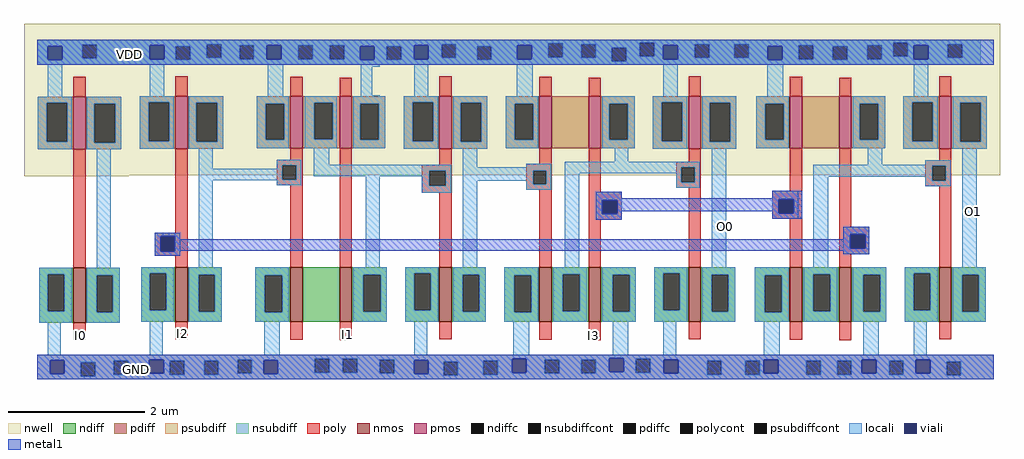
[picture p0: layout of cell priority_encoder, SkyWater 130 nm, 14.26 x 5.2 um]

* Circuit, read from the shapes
.subckt priority_encoder VDD GND I0 I1 I2 I3 O0 O1
XM1 n1 I0 GND GND sky130_fd_pr__nfet_01v8 w=0.8 l=0.18
XM2 n2 I2 GND GND sky130_fd_pr__nfet_01v8 w=0.8 l=0.18
XM3 n3 n2 GND GND sky130_fd_pr__nfet_01v8 w=0.8 l=0.18
XM4 n4 I1 n3 GND sky130_fd_pr__nfet_01v8 w=0.8 l=0.18
XM5 n5 n4 GND GND sky130_fd_pr__nfet_01v8 w=0.8 l=0.18
XM6 n6 n5 GND GND sky130_fd_pr__nfet_01v8 w=0.8 l=0.18
XM7 GND I3 n6 GND sky130_fd_pr__nfet_01v8 w=0.8 l=0.18
XM8 O0 n6 GND GND sky130_fd_pr__nfet_01v8 w=0.8 l=0.18
XM9 n7 I3 GND GND sky130_fd_pr__nfet_01v8 w=0.8 l=0.18
XM10 GND I2 n7 GND sky130_fd_pr__nfet_01v8 w=0.8 l=0.18
XM11 O1 n7 GND GND sky130_fd_pr__nfet_01v8 w=0.8 l=0.18
XM12 n1 I0 VDD VDD sky130_fd_pr__pfet_01v8 w=0.77 l=0.18
XM13 n2 I2 VDD VDD sky130_fd_pr__pfet_01v8 w=0.77 l=0.18
XM14 n4 n2 VDD VDD sky130_fd_pr__pfet_01v8 w=0.76 l=0.18
XM15 VDD I1 n4 VDD sky130_fd_pr__pfet_01v8 w=0.76 l=0.18
XM16 n5 n4 VDD VDD sky130_fd_pr__pfet_01v8 w=0.77 l=0.18
XM17 n8 n5 VDD VDD sky130_fd_pr__pfet_01v8 w=0.76 l=0.18
XM18 n6 I3 n8 VDD sky130_fd_pr__pfet_01v8 w=0.76 l=0.18
XM19 O0 n6 VDD VDD sky130_fd_pr__pfet_01v8 w=0.77 l=0.18
XM20 n9 I3 VDD VDD sky130_fd_pr__pfet_01v8 w=0.76 l=0.18
XM21 n7 I2 n9 VDD sky130_fd_pr__pfet_01v8 w=0.76 l=0.18
XM22 O1 n7 VDD VDD sky130_fd_pr__pfet_01v8 w=0.77 l=0.18
.ends

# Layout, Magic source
magic

tech sky130A


<< nwell >>

rect -161 87 1265 309

rect -161 86 -8 87

<< nmos >>

rect -89 -128 -71 -48

rect 60 -127 78 -47

rect 228 -127 246 -47

rect 300 -127 318 -47

rect 446 -127 464 -47

rect 592 -127 610 -47

rect 664 -127 682 -47

rect 810 -127 828 -47

rect 958 -127 976 -47

rect 1030 -127 1048 -47

rect 1176 -127 1194 -47

<< pmos >>

rect -89 125 -71 202

rect 60 126 78 203

rect 228 127 246 203

rect 300 127 318 203

rect 446 126 464 203

rect 592 127 610 203

rect 664 127 682 203

rect 810 126 828 203

rect 958 127 976 203

rect 1030 127 1048 203

rect 1176 126 1194 203

<< ndiff >>

rect -139 -57 -89 -48

rect -139 -111 -126 -57

rect -102 -111 -89 -57

rect -139 -128 -89 -111

rect -71 -59 -21 -48

rect -71 -113 -55 -59

rect -31 -113 -21 -59

rect -71 -128 -21 -113

rect 10 -56 60 -47

rect 10 -110 23 -56

rect 47 -110 60 -56

rect 10 -127 60 -110

rect 78 -58 128 -47

rect 78 -112 94 -58

rect 118 -112 128 -58

rect 78 -127 128 -112

rect 177 -59 228 -47

rect 177 -113 191 -59

rect 216 -113 228 -59

rect 177 -127 228 -113

rect 246 -127 300 -47

rect 318 -58 369 -47

rect 318 -112 335 -58

rect 360 -112 369 -58

rect 318 -127 369 -112

rect 396 -56 446 -47

rect 396 -110 409 -56

rect 433 -110 446 -56

rect 396 -127 446 -110

rect 464 -58 514 -47

rect 464 -112 480 -58

rect 504 -112 514 -58

rect 464 -127 514 -112

rect 541 -59 592 -47

rect 541 -113 555 -59

rect 580 -113 592 -59

rect 541 -127 592 -113

rect 610 -57 664 -47

rect 610 -111 626 -57

rect 651 -111 664 -57

rect 610 -127 664 -111

rect 682 -58 733 -47

rect 682 -112 699 -58

rect 724 -112 733 -58

rect 682 -127 733 -112

rect 760 -56 810 -47

rect 760 -110 773 -56

rect 797 -110 810 -56

rect 760 -127 810 -110

rect 828 -58 878 -47

rect 828 -112 844 -58

rect 868 -112 878 -58

rect 828 -127 878 -112

rect 907 -59 958 -47

rect 907 -113 921 -59

rect 946 -113 958 -59

rect 907 -127 958 -113

rect 976 -57 1030 -47

rect 976 -111 992 -57

rect 1017 -111 1030 -57

rect 976 -127 1030 -111

rect 1048 -58 1099 -47

rect 1048 -112 1065 -58

rect 1090 -112 1099 -58

rect 1048 -127 1099 -112

rect 1126 -56 1176 -47

rect 1126 -110 1139 -56

rect 1163 -110 1176 -56

rect 1126 -127 1176 -110

rect 1194 -58 1244 -47

rect 1194 -112 1210 -58

rect 1234 -112 1244 -58

rect 1194 -127 1244 -112

<< pdiff >>

rect -141 193 -89 202

rect -141 136 -128 193

rect -98 136 -89 193

rect -141 125 -89 136

rect -71 192 -19 202

rect -71 135 -58 192

rect -28 135 -19 192

rect -71 125 -19 135

rect 8 194 60 203

rect 8 137 21 194

rect 51 137 60 194

rect 8 126 60 137

rect 78 193 130 203

rect 78 136 91 193

rect 121 136 130 193

rect 78 126 130 136

rect 179 192 228 203

rect 179 139 192 192

rect 219 139 228 192

rect 179 127 228 139

rect 246 193 300 203

rect 246 140 263 193

rect 290 140 300 193

rect 246 127 300 140

rect 318 192 367 203

rect 318 139 330 192

rect 357 139 367 192

rect 318 127 367 139

rect 394 194 446 203

rect 394 137 407 194

rect 437 137 446 194

rect 394 126 446 137

rect 464 193 516 203

rect 464 136 477 193

rect 507 136 516 193

rect 464 126 516 136

rect 543 192 592 203

rect 543 139 556 192

rect 583 139 592 192

rect 543 127 592 139

rect 610 127 664 203

rect 682 192 731 203

rect 682 139 694 192

rect 721 139 731 192

rect 682 127 731 139

rect 758 194 810 203

rect 758 137 771 194

rect 801 137 810 194

rect 758 126 810 137

rect 828 193 880 203

rect 828 136 841 193

rect 871 136 880 193

rect 828 126 880 136

rect 909 192 958 203

rect 909 139 922 192

rect 949 139 958 192

rect 909 127 958 139

rect 976 127 1030 203

rect 1048 192 1097 203

rect 1048 139 1060 192

rect 1087 139 1097 192

rect 1048 127 1097 139

rect 1124 194 1176 203

rect 1124 137 1137 194

rect 1167 137 1176 194

rect 1124 126 1176 137

rect 1194 193 1246 203

rect 1194 136 1207 193

rect 1237 136 1246 193

rect 1194 126 1246 136

<< ndiffc >>

rect -126 -111 -102 -57

rect -55 -113 -31 -59

rect 23 -110 47 -56

rect 94 -112 118 -58

rect 191 -113 216 -59

rect 335 -112 360 -58

rect 409 -110 433 -56

rect 480 -112 504 -58

rect 555 -113 580 -59

rect 626 -111 651 -57

rect 699 -112 724 -58

rect 773 -110 797 -56

rect 844 -112 868 -58

rect 921 -113 946 -59

rect 992 -111 1017 -57

rect 1065 -112 1090 -58

rect 1139 -110 1163 -56

rect 1210 -112 1234 -58

<< pdiffc >>

rect -128 136 -98 193

rect -58 135 -28 192

rect 21 137 51 194

rect 91 136 121 193

rect 192 139 219 192

rect 263 140 290 193

rect 330 139 357 192

rect 407 137 437 194

rect 477 136 507 193

rect 556 139 583 192

rect 694 139 721 192

rect 771 137 801 194

rect 841 136 871 193

rect 922 139 949 192

rect 1060 139 1087 192

rect 1137 137 1167 194

rect 1207 136 1237 193

<< psubdiff >>

rect -142 -181 1256 -175

rect -142 -182 264 -181

rect -142 -184 151 -182

rect -142 -186 -30 -184

rect -142 -206 -78 -186

rect -57 -204 -30 -186

rect -9 -204 52 -184

rect 73 -204 102 -184

rect 123 -202 151 -184

rect 172 -201 264 -182

rect 285 -201 305 -181

rect 326 -182 733 -181

rect 326 -201 359 -182

rect 172 -202 359 -201

rect 380 -184 600 -182

rect 380 -185 510 -184

rect 380 -202 452 -185

rect 123 -204 452 -202

rect -57 -205 452 -204

rect 473 -204 510 -185

rect 531 -202 600 -184

rect 621 -202 653 -182

rect 674 -201 733 -182

rect 754 -184 1256 -181

rect 754 -201 837 -184

rect 674 -202 837 -201

rect 531 -204 837 -202

rect 858 -204 893 -184

rect 914 -204 982 -184

rect 1003 -204 1027 -184

rect 1048 -204 1103 -184

rect 1124 -185 1256 -184

rect 1124 -204 1187 -185

rect 473 -205 1187 -204

rect 1208 -205 1256 -185

rect -57 -206 1256 -205

rect -142 -211 1256 -206

<< nsubdiff >>

rect -142 281 1237 285

rect -142 280 739 281

rect -142 279 605 280

rect -142 278 106 279

rect -142 258 -76 278

rect -55 276 106 278

rect -55 258 61 276

rect -142 256 61 258

rect 82 259 106 276

rect 127 277 449 279

rect 127 259 154 277

rect 82 257 154 259

rect 175 257 240 277

rect 261 257 286 277

rect 307 276 449 277

rect 307 257 369 276

rect 82 256 369 257

rect 390 259 449 276

rect 470 276 605 279

rect 470 259 501 276

rect 390 256 501 259

rect 522 260 605 276

rect 626 279 739 280

rect 626 260 653 279

rect 522 259 653 260

rect 674 274 739 279

rect 674 259 698 274

rect 522 256 698 259

rect -142 254 698 256

rect 719 261 739 274

rect 760 279 1109 281

rect 760 261 819 279

rect 719 259 819 261

rect 840 259 877 279

rect 898 277 1109 279

rect 898 259 971 277

rect 719 257 971 259

rect 992 276 1071 277

rect 992 257 1021 276

rect 719 256 1021 257

rect 1042 257 1071 276

rect 1092 261 1109 277

rect 1130 279 1237 281

rect 1130 261 1189 279

rect 1092 259 1189 261

rect 1210 259 1237 279

rect 1092 257 1237 259

rect 1042 256 1237 257

rect 719 254 1237 256

rect -142 249 1237 254

<< psubdiffcont >>

rect -78 -206 -57 -186

rect -30 -204 -9 -184

rect 52 -204 73 -184

rect 102 -204 123 -184

rect 151 -202 172 -182

rect 264 -201 285 -181

rect 305 -201 326 -181

rect 359 -202 380 -182

rect 452 -205 473 -185

rect 510 -204 531 -184

rect 600 -202 621 -182

rect 653 -202 674 -182

rect 733 -201 754 -181

rect 837 -204 858 -184

rect 893 -204 914 -184

rect 982 -204 1003 -184

rect 1027 -204 1048 -184

rect 1103 -204 1124 -184

rect 1187 -205 1208 -185

<< nsubdiffcont >>

rect -76 258 -55 278

rect 61 256 82 276

rect 106 259 127 279

rect 154 257 175 277

rect 240 257 261 277

rect 286 257 307 277

rect 369 256 390 276

rect 449 259 470 279

rect 501 256 522 276

rect 605 260 626 280

rect 653 259 674 279

rect 698 254 719 274

rect 739 261 760 281

rect 819 259 840 279

rect 877 259 898 279

rect 971 257 992 277

rect 1021 256 1042 276

rect 1071 257 1092 277

rect 1109 261 1130 281

rect 1189 259 1210 279

<< poly >>

rect -89 202 -71 231

rect 60 203 78 232

rect 228 203 246 231

rect 300 203 318 230

rect 446 203 464 232

rect 592 203 610 231

rect 664 203 682 230

rect 810 203 828 232

rect 958 203 976 231

rect 1030 203 1048 230

rect 1176 203 1194 232

rect -89 -48 -71 125

rect 60 3 78 126

rect 228 110 246 127

rect 208 102 246 110

rect 208 81 216 102

rect 237 81 246 102

rect 208 73 246 81

rect 30 -2 78 3

rect 30 -24 39 -2

rect 59 -24 78 -2

rect 30 -30 78 -24

rect 60 -47 78 -30

rect 228 -47 246 73

rect 300 -47 318 127

rect 446 103 464 126

rect 592 104 610 127

rect 420 94 464 103

rect 420 72 431 94

rect 455 72 464 94

rect 420 62 464 72

rect 573 94 610 104

rect 573 74 583 94

rect 602 74 610 94

rect 573 66 610 74

rect 446 -47 464 62

rect 592 -47 610 66

rect 664 63 682 127

rect 810 107 828 126

rect 792 99 828 107

rect 792 77 799 99

rect 819 77 828 99

rect 792 69 828 77

rect 664 51 712 63

rect 664 31 684 51

rect 706 31 712 51

rect 664 22 712 31

rect 664 -47 682 22

rect 810 -47 828 69

rect 958 65 976 127

rect 932 52 976 65

rect 932 32 942 52

rect 964 32 976 52

rect 932 24 976 32

rect 958 -47 976 24

rect 1030 12 1048 127

rect 1176 109 1194 126

rect 1156 101 1194 109

rect 1156 79 1166 101

rect 1186 79 1194 101

rect 1156 71 1194 79

rect 1030 1 1074 12

rect 1030 -19 1046 1

rect 1068 -19 1074 1

rect 1030 -28 1074 -19

rect 1030 -47 1048 -28

rect 1176 -47 1194 71

rect -89 -153 -71 -128

rect 60 -152 78 -127

rect 228 -153 246 -127

rect 300 -154 318 -127

rect 446 -152 464 -127

rect 592 -153 610 -127

rect 664 -154 682 -127

rect 810 -152 828 -127

rect 958 -153 976 -127

rect 1030 -154 1048 -127

rect 1176 -152 1194 -127

<< polycont >>

rect 216 81 237 102

rect 39 -24 59 -2

rect 431 72 455 94

rect 583 74 602 94

rect 799 77 819 99

rect 684 31 706 51

rect 942 32 964 52

rect 1166 79 1186 101

rect 1046 -19 1068 1

<< locali >>

rect -142 281 1256 285

rect -142 280 739 281

rect -142 279 605 280

rect -142 278 106 279

rect -142 276 -76 278

rect -142 256 -126 276

rect -105 258 -76 276

rect -55 277 106 278

rect -55 258 23 277

rect -105 257 23 258

rect 44 276 106 277

rect 44 257 61 276

rect -105 256 61 257

rect 82 259 106 276

rect 127 277 449 279

rect 127 259 154 277

rect 82 257 154 259

rect 175 257 194 277

rect 215 257 240 277

rect 261 257 286 277

rect 307 276 409 277

rect 307 257 330 276

rect 82 256 330 257

rect 351 256 369 276

rect 390 257 409 276

rect 430 259 449 277

rect 470 277 605 279

rect 470 276 560 277

rect 470 259 501 276

rect 430 257 501 259

rect 390 256 501 257

rect 522 257 560 276

rect 581 260 605 277

rect 626 279 739 280

rect 626 260 653 279

rect 581 259 653 260

rect 674 274 739 279

rect 674 259 698 274

rect 581 257 698 259

rect 522 256 698 257

rect -142 254 698 256

rect 719 261 739 274

rect 760 279 1109 281

rect 760 277 819 279

rect 760 261 773 277

rect 719 257 773 261

rect 794 259 819 277

rect 840 259 877 279

rect 898 277 1109 279

rect 898 276 971 277

rect 898 259 926 276

rect 794 257 926 259

rect 719 256 926 257

rect 947 257 971 276

rect 992 276 1071 277

rect 992 257 1021 276

rect 947 256 1021 257

rect 1042 257 1071 276

rect 1092 261 1109 277

rect 1130 279 1256 281

rect 1130 277 1189 279

rect 1130 261 1139 277

rect 1092 257 1139 261

rect 1160 259 1189 277

rect 1210 259 1256 279

rect 1160 257 1256 259

rect 1042 256 1256 257

rect 719 254 1256 256

rect -142 249 1256 254

rect -126 202 -105 249

rect 23 203 44 249

rect 195 203 218 249

rect 331 246 359 249

rect 331 204 348 246

rect 331 203 359 204

rect 409 203 430 249

rect 559 203 582 249

rect 773 203 794 249

rect 925 203 948 249

rect 1139 203 1160 249

rect -141 193 -91 202

rect -141 136 -128 193

rect -98 136 -91 193

rect -141 125 -91 136

rect -69 192 -19 202

rect -69 135 -58 192

rect -28 135 -19 192

rect -69 125 -19 135

rect 8 194 58 203

rect 8 137 21 194

rect 51 137 58 194

rect 8 126 58 137

rect 80 193 130 203

rect 80 136 91 193

rect 121 136 130 193

rect 80 126 130 136

rect 179 192 226 203

rect 179 139 192 192

rect 219 139 226 192

rect 179 127 226 139

rect 249 193 296 203

rect 249 140 263 193

rect 290 140 296 193

rect 249 127 296 140

rect 320 192 367 203

rect 320 139 330 192

rect 357 139 367 192

rect 320 127 367 139

rect 394 194 444 203

rect 394 137 407 194

rect 437 137 444 194

rect -55 -48 -34 125

rect 94 97 115 126

rect 208 102 244 110

rect 208 97 216 102

rect 94 81 216 97

rect 237 81 244 102

rect 262 103 285 127

rect 394 126 444 137

rect 466 193 516 203

rect 466 136 477 193

rect 507 136 516 193

rect 466 126 516 136

rect 543 192 590 203

rect 543 139 556 192

rect 583 139 590 192

rect 543 127 590 139

rect 684 192 731 203

rect 684 139 694 192

rect 721 139 731 192

rect 684 127 731 139

rect 758 194 808 203

rect 758 137 771 194

rect 801 137 808 194

rect 262 94 463 103

rect 262 86 431 94

rect 94 80 244 81

rect 30 -2 67 3

rect 30 -24 39 -2

rect 59 -24 67 -2

rect 30 -30 67 -24

rect 94 -47 115 80

rect 208 73 244 80

rect 338 -47 359 86

rect 420 72 431 86

rect 455 72 463 94

rect 420 62 463 72

rect 480 99 501 126

rect 702 107 722 127

rect 758 126 808 137

rect 830 193 880 203

rect 830 136 841 193

rect 871 136 880 193

rect 830 126 880 136

rect 909 192 956 203

rect 909 139 922 192

rect 949 139 956 192

rect 909 127 956 139

rect 1050 192 1097 203

rect 1050 139 1060 192

rect 1087 139 1097 192

rect 1050 127 1097 139

rect 1124 194 1174 203

rect 1124 137 1137 194

rect 1167 137 1174 194

rect 573 99 609 104

rect 480 94 609 99

rect 480 79 583 94

rect 480 -47 501 79

rect 573 74 583 79

rect 602 74 609 94

rect 573 66 609 74

rect 629 99 826 107

rect 629 90 799 99

rect 629 -47 650 90

rect 792 77 799 90

rect 819 77 826 99

rect 792 69 826 77

rect 674 51 712 63

rect 674 31 684 51

rect 706 31 712 51

rect 674 22 712 31

rect 844 -47 865 126

rect 1072 103 1093 127

rect 1124 126 1174 137

rect 1196 193 1246 203

rect 1196 136 1207 193

rect 1237 136 1246 193

rect 1196 126 1246 136

rect 1156 103 1193 109

rect 992 101 1193 103

rect 992 85 1166 101

rect 932 52 970 65

rect 932 32 942 52

rect 964 32 970 52

rect 932 24 970 32

rect 992 -47 1014 85

rect 1156 79 1166 85

rect 1186 79 1193 101

rect 1156 71 1193 79

rect 1036 1 1074 12

rect 1036 -19 1046 1

rect 1068 -19 1074 1

rect 1036 -28 1074 -19

rect 1210 -47 1231 126

rect -139 -57 -91 -48

rect -139 -111 -126 -57

rect -102 -111 -91 -57

rect -139 -128 -91 -111

rect -69 -59 -21 -48

rect -69 -113 -55 -59

rect -31 -113 -21 -59

rect -69 -128 -21 -113

rect 10 -56 58 -47

rect 10 -110 23 -56

rect 47 -110 58 -56

rect 10 -127 58 -110

rect 80 -58 128 -47

rect 80 -112 94 -58

rect 118 -112 128 -58

rect 80 -127 128 -112

rect 177 -59 226 -47

rect 177 -113 191 -59

rect 216 -113 226 -59

rect 177 -127 226 -113

rect 320 -58 369 -47

rect 320 -112 335 -58

rect 360 -112 369 -58

rect 320 -127 369 -112

rect 396 -56 444 -47

rect 396 -110 409 -56

rect 433 -110 444 -56

rect 396 -127 444 -110

rect 466 -58 514 -47

rect 466 -112 480 -58

rect 504 -112 514 -58

rect 466 -127 514 -112

rect 541 -59 590 -47

rect 541 -113 555 -59

rect 580 -113 590 -59

rect 541 -127 590 -113

rect 612 -57 661 -47

rect 612 -111 626 -57

rect 651 -111 661 -57

rect 612 -127 661 -111

rect 684 -58 733 -47

rect 684 -112 699 -58

rect 724 -112 733 -58

rect 684 -127 733 -112

rect 760 -56 808 -47

rect 760 -110 773 -56

rect 797 -110 808 -56

rect 760 -127 808 -110

rect 830 -58 878 -47

rect 830 -112 844 -58

rect 868 -112 878 -58

rect 830 -127 878 -112

rect 907 -59 956 -47

rect 907 -113 921 -59

rect 946 -113 956 -59

rect 907 -127 956 -113

rect 978 -57 1027 -47

rect 978 -111 992 -57

rect 1017 -111 1027 -57

rect 978 -127 1027 -111

rect 1050 -58 1099 -47

rect 1050 -112 1065 -58

rect 1090 -112 1099 -58

rect 1050 -127 1099 -112

rect 1126 -56 1174 -47

rect 1126 -110 1139 -56

rect 1163 -110 1174 -56

rect 1126 -127 1174 -110

rect 1196 -58 1244 -47

rect 1196 -112 1210 -58

rect 1234 -112 1244 -58

rect 1196 -127 1244 -112

rect -126 -175 -107 -128

rect 23 -175 42 -127

rect 190 -175 213 -127

rect 409 -175 428 -127

rect 554 -175 577 -127

rect 699 -175 722 -127

rect 773 -175 792 -127

rect 920 -175 943 -127

rect 1065 -175 1088 -127

rect 1139 -175 1158 -127

rect -142 -180 1256 -175

rect -142 -181 694 -180

rect -142 -182 264 -181

rect -142 -183 22 -182

rect -142 -203 -123 -183

rect -102 -184 22 -183

rect -102 -186 -30 -184

rect -102 -203 -78 -186

rect -142 -206 -78 -203

rect -57 -204 -30 -186

rect -9 -202 22 -184

rect 43 -184 151 -182

rect 43 -202 52 -184

rect -9 -204 52 -202

rect 73 -204 102 -184

rect 123 -202 151 -184

rect 172 -183 264 -182

rect 172 -202 189 -183

rect 123 -203 189 -202

rect 210 -201 264 -183

rect 285 -201 305 -181

rect 326 -182 552 -181

rect 326 -201 359 -182

rect 210 -202 359 -201

rect 380 -183 552 -182

rect 380 -202 409 -183

rect 210 -203 409 -202

rect 430 -184 552 -183

rect 430 -185 510 -184

rect 430 -203 452 -185

rect 123 -204 452 -203

rect -57 -205 452 -204

rect 473 -204 510 -185

rect 531 -201 552 -184

rect 573 -182 694 -181

rect 573 -201 600 -182

rect 531 -202 600 -201

rect 621 -202 653 -182

rect 674 -200 694 -182

rect 715 -181 1256 -180

rect 715 -200 733 -181

rect 674 -201 733 -200

rect 754 -182 1256 -181

rect 754 -201 774 -182

rect 674 -202 774 -201

rect 795 -184 920 -182

rect 795 -202 837 -184

rect 531 -204 837 -202

rect 858 -204 893 -184

rect 914 -202 920 -184

rect 941 -184 1063 -182

rect 941 -202 982 -184

rect 914 -204 982 -202

rect 1003 -204 1027 -184

rect 1048 -202 1063 -184

rect 1084 -184 1142 -182

rect 1084 -202 1103 -184

rect 1048 -204 1103 -202

rect 1124 -202 1142 -184

rect 1163 -185 1256 -182

rect 1163 -202 1187 -185

rect 1124 -204 1187 -202

rect 473 -205 1187 -204

rect 1208 -205 1256 -185

rect -57 -206 1256 -205

rect -142 -211 1256 -206

<< viali >>

rect -126 256 -105 276

rect 23 257 44 277

rect 194 257 215 277

rect 330 256 351 276

rect 409 257 430 277

rect 560 257 581 277

rect 773 257 794 277

rect 926 256 947 276

rect 1139 257 1160 277

rect 39 -24 59 -2

rect 684 31 706 51

rect 942 32 964 52

rect 1046 -19 1068 1

rect -123 -203 -102 -183

rect 22 -202 43 -182

rect 189 -203 210 -183

rect 409 -203 430 -183

rect 552 -201 573 -181

rect 694 -200 715 -180

rect 774 -202 795 -182

rect 920 -202 941 -182

rect 1063 -202 1084 -182

rect 1142 -202 1163 -182

<< metal1 >>

rect -142 277 1256 285

rect -142 276 23 277

rect -142 256 -126 276

rect -105 257 23 276

rect 44 257 194 277

rect 215 276 409 277

rect 215 257 330 276

rect -105 256 330 257

rect 351 257 409 276

rect 430 257 560 277

rect 581 257 773 277

rect 794 276 1139 277

rect 794 257 926 276

rect 351 256 926 257

rect 947 257 1139 276

rect 1160 257 1256 277

rect 947 256 1256 257

rect -142 249 1256 256

rect 674 54 712 63

rect 932 54 976 65

rect 674 52 976 54

rect 674 51 942 52

rect 674 31 684 51

rect 706 35 942 51

rect 706 31 712 35

rect 674 22 712 31

rect 932 32 942 35

rect 964 32 976 52

rect 932 24 976 32

rect 30 -2 67 3

rect 30 -24 39 -2

rect 59 -6 67 -2

rect 1036 1 1074 12

rect 1036 -6 1046 1

rect 59 -19 1046 -6

rect 1068 -19 1074 1

rect 59 -23 1074 -19

rect 59 -24 67 -23

rect 30 -30 67 -24

rect 1036 -28 1074 -23

rect -142 -180 1256 -175

rect -142 -181 694 -180

rect -142 -182 552 -181

rect -142 -183 22 -182

rect -142 -203 -123 -183

rect -102 -202 22 -183

rect 43 -183 552 -182

rect 43 -202 189 -183

rect -102 -203 189 -202

rect 210 -203 409 -183

rect 430 -201 552 -183

rect 573 -200 694 -181

rect 715 -182 1256 -180

rect 715 -200 774 -182

rect 573 -201 774 -200

rect 430 -202 774 -201

rect 795 -202 920 -182

rect 941 -202 1063 -182

rect 1084 -202 1142 -182

rect 1163 -202 1256 -182

rect 430 -203 1256 -202

rect -142 -211 1256 -203

<< labels >>

flabel locali s -35 249 21 279 0 FreeSans 80 0 0 0 VDD

port 0 nsew

flabel locali s -24 -211 32 -181 0 FreeSans 80 0 0 0 GND

port 1 nsew

flabel poly s -99 -160 -58 -134 0 FreeSans 80 0 0 0 I0

port 2 nsew

flabel poly s 291 -158 332 -132 0 FreeSans 80 0 0 0 I1

port 3 nsew

flabel poly s 50 -157 91 -131 0 FreeSans 80 0 0 0 I2

port 4 nsew

flabel poly s 651 -160 692 -134 0 FreeSans 80 0 0 0 I3

port 5 nsew

flabel locali s 844 0 885 26 0 FreeSans 80 0 0 0 O0

port 6 nsew

flabel locali s 1206 22 1247 48 0 FreeSans 80 0 0 0 O1

port 7 nsew

<< end >>
